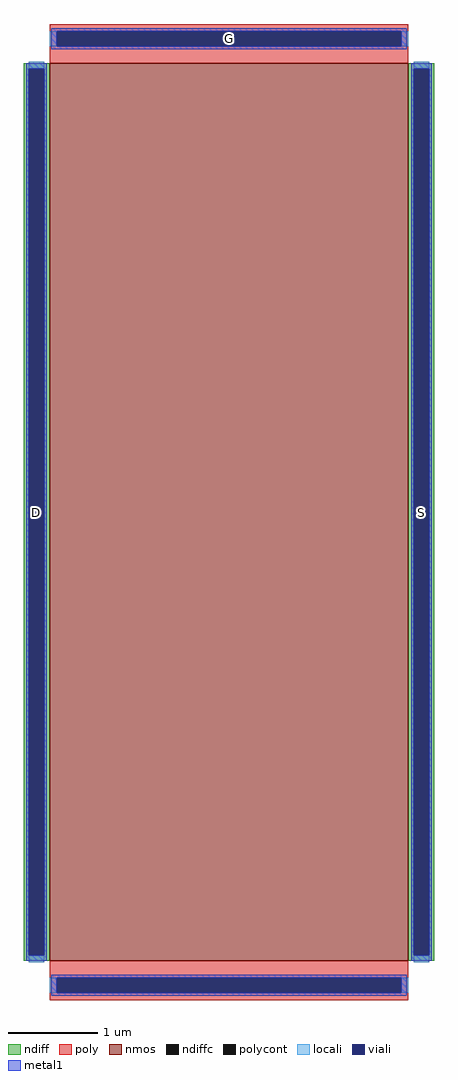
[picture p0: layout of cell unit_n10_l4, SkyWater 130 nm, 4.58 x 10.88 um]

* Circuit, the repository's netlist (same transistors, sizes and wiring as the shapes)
* NGSPICE file created from unit_n10_l4.ext - technology: sky130A

.subckt unit_n10_l4 D S G
X0 S G D VSUBS sky130_fd_pr__nfet_01v8 ad=2.9 pd=20.58 as=2.9 ps=20.58 w=10 l=4
.ends

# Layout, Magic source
magic
tech sky130A
magscale 1 2
<< nmos >>
rect -400 -1000 400 1000
<< ndiff >>
rect -458 988 -400 1000
rect -458 -988 -446 988
rect -412 -988 -400 988
rect -458 -1000 -400 -988
rect 400 988 458 1000
rect 400 -988 412 988
rect 446 -988 458 988
rect 400 -1000 458 -988
<< ndiffc >>
rect -446 -988 -412 988
rect 412 -988 446 988
<< poly >>
rect -400 1072 400 1088
rect -400 1038 -384 1072
rect 384 1038 400 1072
rect -400 1000 400 1038
rect -400 -1038 400 -1000
rect -400 -1072 -384 -1038
rect 384 -1072 400 -1038
rect -400 -1088 400 -1072
<< polycont >>
rect -384 1038 384 1072
rect -384 -1072 384 -1038
<< locali >>
rect -400 1038 -384 1072
rect 384 1038 400 1072
rect -446 988 -412 1004
rect -446 -1004 -412 -988
rect 412 988 446 1004
rect 412 -1004 446 -988
rect -400 -1072 -384 -1038
rect 384 -1072 400 -1038
<< viali >>
rect -384 1038 384 1072
rect -446 -988 -412 988
rect 412 -988 446 988
rect -384 -1072 384 -1038
<< metal1 >>
rect -396 1072 396 1078
rect -396 1038 -384 1072
rect 384 1038 396 1072
rect -396 1032 396 1038
rect -452 988 -406 1000
rect -452 -988 -446 988
rect -412 -988 -406 988
rect -452 -1000 -406 -988
rect 406 988 452 1000
rect 406 -988 412 988
rect 446 -988 452 988
rect 406 -1000 452 -988
rect -396 -1038 396 -1032
rect -396 -1072 -384 -1038
rect 384 -1072 396 -1038
rect -396 -1078 396 -1072
<< labels >>
rlabel ndiffc -429 0 -429 0 0 D
port 1 nsew
rlabel ndiffc 429 0 429 0 0 S
port 2 nsew
rlabel polycont 0 1055 0 1055 0 G
port 3 nsew
<< end >>
